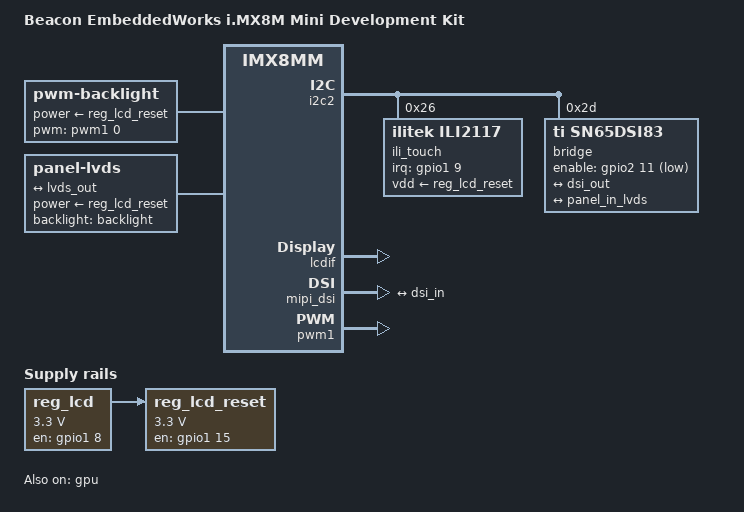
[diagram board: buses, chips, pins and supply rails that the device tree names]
// SPDX-License-Identifier: (GPL-2.0 OR MIT)
/*
 * Copyright 2021 Logic PD, Inc. DBA BeaconEmbeddedWorks
 */

/dts-v1/;

#include "imx8mn.dtsi"
#include "imx8mn-beacon-som.dtsi"
#include "imx8mn-beacon-baseboard.dtsi"

/ {
	model = "Beacon EmbeddedWorks i.MX8M Mini Development Kit";
	compatible = "beacon,imx8mm-beacon-kit", "fsl,imx8mm";

	chosen {
		stdout-path = &uart2;
	};

	backlight: backlight-lvds {
		compatible = "pwm-backlight";
		pwms = <&pwm1 0 20000>;
		brightness-levels = <0 4 8 16 32 64 128 255>;
		default-brightness-level = <6>;
		power-supply = <&reg_lcd_reset>;
	};

	lvds {
		compatible = "panel-lvds";
		power-supply = <&reg_lcd_reset>;
		width-mm = <223>;
		height-mm = <125>;
		backlight = <&backlight>;
		data-mapping = "vesa-24";

		panel-timing {
			/* 800x480@60Hz */
			clock-frequency = <30000000>;
			hactive = <800>;
			vactive = <480>;
			hsync-len = <48>;
			hfront-porch = <40>;
			hback-porch = <40>;
			vfront-porch = <13>;
			vback-porch = <29>;
			vsync-len = <1>;
			hsync-active = <1>;
			vsync-active = <3>;
			de-active = <1>;
			pixelclk-active = <0>;
		};

		port {
			panel_in_lvds: endpoint {
				remote-endpoint = <&lvds_out>;
			};
		};
	};

	reg_lcd: regulator-lcd {
		pinctrl-names = "default";
		pinctrl-0 = <&pinctrl_lcd_reg>;
		compatible = "regulator-fixed";
		regulator-name = "lcd_panel_pwr";
		regulator-min-microvolt = <3300000>;
		regulator-max-microvolt = <3300000>;
		gpio = <&gpio1 8 GPIO_ACTIVE_HIGH>;
		enable-active-high;
	};

	reg_lcd_reset: regulator-lcd-reset {
		pinctrl-names = "default";
		pinctrl-0 = <&pinctrl_lcd_rst>;
		compatible = "regulator-fixed";
		regulator-name = "nLCD_RESET";
		regulator-min-microvolt = <3300000>;
		regulator-max-microvolt = <3300000>;
		gpio = <&gpio1 15 GPIO_ACTIVE_HIGH>;
		enable-active-high;
		vin-supply = <&reg_lcd>;
	};
};

&gpu {
	status = "okay";
};

&i2c2 {
	ili_touch: ilitouch@26 {
		compatible = "ilitek,ili2117";
		reg = <0x26>;
		pinctrl-names = "default";
		pinctrl-0 = <&pinctrl_touchscreen>;
		vdd-supply = <&reg_lcd_reset>;
		interrupt-parent = <&gpio1>;
		interrupts = <9 IRQ_TYPE_EDGE_RISING>;
	};

	bridge@2d {
		compatible = "ti,sn65dsi83";
		reg = <0x2d>;
		enable-gpios = <&gpio2 11 GPIO_ACTIVE_LOW>;
		pinctrl-names = "default";
		pinctrl-0 = <&pinctrl_lvds>;

		ports {
			#address-cells = <1>;
			#size-cells = <0>;

			port@0 {
				reg = <0>;

				dsi_in: endpoint {
					remote-endpoint = <&dsi_out>;
					data-lanes = <1 2 3 4>;
				};
			};

			port@2 {
				reg = <2>;

				lvds_out: endpoint {
					remote-endpoint = <&panel_in_lvds>;
				};
			};
		};
	};
};

&lcdif {
	status = "okay";
};

&mipi_dsi {
	status = "okay";

	port@1 {
		dsi_out: endpoint {
			remote-endpoint = <&dsi_in>;
			attach-bridge;
		};
	};
};

&pwm1 {
	status = "okay";
	pinctrl-names = "default";
	pinctrl-0 = <&pinctrl_pwm1>;
};

&iomuxc {
	pinctrl_lcd_reg: lcd_reggrp {
		fsl,pins = <
			MX8MN_IOMUXC_GPIO1_IO08_GPIO1_IO8		0x16
		>;
	};

	pinctrl_lcd_rst: lcd_rstgrp {
		fsl,pins = <
			MX8MN_IOMUXC_GPIO1_IO15_GPIO1_IO15		0x16
		>;
	};

	pinctrl_lvds: lvdsgrp {
		fsl,pins = <
			MX8MN_IOMUXC_SD1_STROBE_GPIO2_IO11		0x16
		>;
	};

	pinctrl_pwm1: pwm1grp {
		fsl,pins = <
			MX8MN_IOMUXC_GPIO1_IO01_PWM1_OUT		0x06
		>;
	};

	pinctrl_touchscreen: touchscreengrp {
		fsl,pins = <
			MX8MN_IOMUXC_GPIO1_IO09_GPIO1_IO9		0x119
		>;
	};
};
